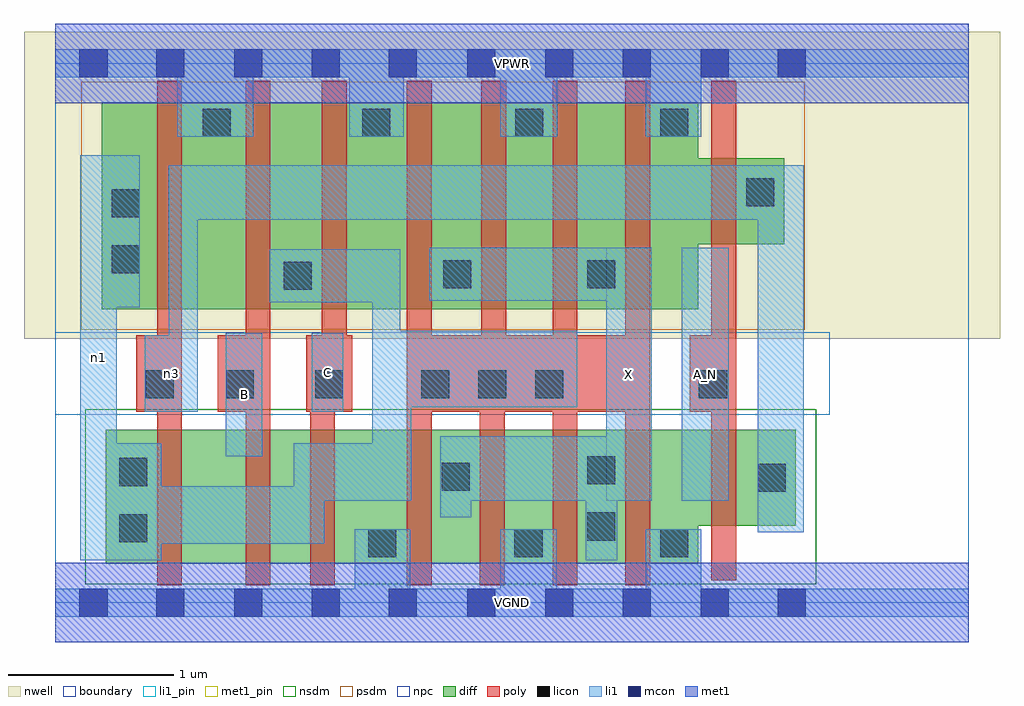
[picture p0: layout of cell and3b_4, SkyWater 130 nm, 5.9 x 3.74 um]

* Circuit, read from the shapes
.subckt and3b_4 A_N B C VGND VPWR X n1 n3
XM1 n2 n3 n1 VSUBS sky130_fd_pr__nfet_01v8 w=0.81 l=0.15
XM2 n4 B n2 VSUBS sky130_fd_pr__nfet_01v8 w=0.81 l=0.15
XM3 VGND C n4 VSUBS sky130_fd_pr__nfet_01v8 w=0.81 l=0.15
XM4 X n1 VGND VSUBS sky130_fd_pr__nfet_01v8 w=0.81 l=0.15 m=4
XM5 n3 A_N VGND VSUBS sky130_fd_pr__nfet_01v8 w=0.58 l=0.15
XM6 VPWR n3 n1 n5 sky130_fd_pr__pfet_01v8 w=1.25 l=0.15
XM7 n1 B VPWR n5 sky130_fd_pr__pfet_01v8 w=1.25 l=0.15
XM8 VPWR C n1 n5 sky130_fd_pr__pfet_01v8 w=1.25 l=0.15
XM9 X n1 VPWR n5 sky130_fd_pr__pfet_01v8 w=1.25 l=0.15 m=4
XM10 n3 A_N VPWR n5 sky130_fd_pr__pfet_01v8 w=0.52 l=0.15
.ends

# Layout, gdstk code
import gdstk
lib = gdstk.Library(unit=1e-6, precision=1e-09)
def R(c, l, rs):  # rectangles x0, y0, x1, y1
    for r in rs: c.add(gdstk.rectangle(r[:2], r[2:], *l))
def A(c, l, x, y, w, h, nx, ny, dx, dy):  # array of equal rectangles
    R(c, l, [(x+i*dx, y+j*dy, x+i*dx+w, y+j*dy+h) for i in range(nx) for j in range(ny)])
nwell = (64, 20)
diff = (65, 20)
poly = (66, 20)
licon = (66, 44)
li1_pin = (67, 16)
li1 = (67, 20)
mcon = (67, 44)
met1_pin = (68, 16)
met1 = (68, 20)
nsdm = (93, 44)
psdm = (94, 20)
npc = (95, 20)
boundary = (235, 4)

and3b_4 = lib.new_cell('and3b_4')
R(and3b_4, nwell, [(-0.19,1.595,5.71,3.45), (0,1.595,5.52,3.45)])
R(and3b_4, diff, [(0.305,0.235,3.885,1.045), (0.305,0.465,4.475,1.045), (0.28,1.775,3.885,3.025), (0.28,2.165,4.405,2.685)])
R(and3b_4, poly, [(0.615,0.105,0.765,3.155), (1.15,0.105,1.3,3.155), (1.54,0.105,1.69,1.615), (2.125,0.105,2.275,3.155), (2.565,0.105,2.715,1.615), (3.005,0.105,3.155,3.155), (3.445,0.105,3.595,3.155), (3.965,0.135,4.115,3.155), (0.49,1.155,0.765,1.615), (0.98,1.155,1.3,1.615), (1.515,1.155,1.795,1.615), (1.61,1.155,1.76,3.155), (2.125,1.155,3.595,1.615), (2.575,1.155,2.725,3.155), (3.835,1.155,4.115,1.615)])
A(and3b_4, licon, 2.21, 1.235, 0.17, 0.17, 3, 1, 0.345, 0)
R(and3b_4, licon, [(1.89,0.275,2.06,0.445), (2.775,0.275,2.945,0.445), (3.655,0.275,3.825,0.445), (0.385,0.365,0.555,0.535), (3.215,0.375,3.385,0.545), (4.245,0.67,4.415,0.84), (2.335,0.675,2.505,0.845), (0.385,0.705,0.555,0.875), (3.215,0.715,3.385,0.885), (0.545,1.235,0.715,1.405), (1.03,1.235,1.2,1.405), (1.57,1.235,1.74,1.405), (3.89,1.235,4.06,1.405), (1.38,1.89,1.55,2.06), (2.345,1.9,2.515,2.07), (3.215,1.9,3.385,2.07), (0.34,1.99,0.51,2.16), (0.34,2.33,0.51,2.5), (4.175,2.395,4.345,2.565), (0.89,2.815,1.06,2.985), (1.855,2.815,2.025,2.985), (2.78,2.815,2.95,2.985), (3.655,2.815,3.825,2.985)])
R(and3b_4, li1_pin, [(3.33,0.615,3.605,2.145), (3.785,0.615,4.07,2.145), (1.03,0.885,1.25,1.63), (1.55,1.155,1.74,1.63)])
R(and3b_4, li1, [(0,-0.085,5.52,0.085), (1.81,-0.085,2.145,0.445), (2.69,-0.085,3.03,0.445), (3.57,-0.085,3.905,0.445), (0.15,0.255,0.37,2.705), (0.15,0.255,0.64,0.965), (3.205,0.255,3.395,1.005), (0.15,0.355,1.625,0.705), (1.44,0.355,1.625,0.965), (4.245,0.425,4.525,2.645), (2.325,0.515,2.515,1.005), (1.44,0.615,2.15,0.965), (1.915,0.615,2.085,2.135), (1.915,0.615,2.15,1.645), (2.325,0.615,3.605,1.005), (3.33,0.615,3.605,2.145), (3.785,0.615,4.07,2.145), (1.03,0.885,1.25,1.63), (0.54,1.155,0.86,1.615), (0.685,1.155,0.86,2.645), (1.55,1.155,1.74,1.63), (1.915,1.18,3.155,1.645), (0.15,1.785,0.51,2.705), (1.295,1.815,2.085,2.135), (2.26,1.825,3.605,2.145), (0.685,2.315,4.525,2.645), (0.735,2.815,1.195,3.345), (1.775,2.815,2.105,3.345), (2.69,2.815,3.035,3.345), (3.57,2.815,3.905,3.345), (0,3.175,5.52,3.345)])
A(and3b_4, mcon, 0.61, -0.085, 0.17, 0.17, 3, 2, 0.47, 3.26)
A(and3b_4, mcon, 2.49, -0.085, 0.17, 0.17, 4, 2, 0.47, 3.26)
R(and3b_4, mcon, [(0.145,-0.085,0.315,0.085), (2.015,-0.085,2.185,0.085), (4.365,-0.085,4.535,0.085), (0.145,3.175,0.315,3.345), (2.015,3.175,2.185,3.345), (4.365,3.175,4.535,3.345)])
R(and3b_4, met1_pin, [(0,-0.24,5.52,0.24), (0,3.02,5.52,3.5)])
R(and3b_4, met1, [(0,-0.24,5.52,0.24), (0,3.02,5.52,3.5)])
R(and3b_4, nsdm, [(0.18,0.11,4.6,1.17)])
R(and3b_4, psdm, [(0.155,1.65,4.53,3.15)])
R(and3b_4, npc, [(0,1.135,4.68,1.635)])
R(and3b_4, boundary, [(0,0,5.52,3.26)])
and3b_4.add(gdstk.Label('A_N', (3.927,1.38), layer=67, texttype=5))
and3b_4.add(gdstk.Label('B', (1.14,1.257), layer=67, texttype=5))
and3b_4.add(gdstk.Label('C', (1.645,1.392), layer=67, texttype=5))
and3b_4.add(gdstk.Label('X', (3.467,1.38), layer=67, texttype=5))
and3b_4.add(gdstk.Label('n3', (0.7,1.385), layer=67, texttype=5))
and3b_4.add(gdstk.Label('n1', (0.26,1.48), layer=67, texttype=5))
and3b_4.add(gdstk.Label('VPWR', (2.76,3.26), layer=68, texttype=5))
and3b_4.add(gdstk.Label('VGND', (2.76,0), layer=68, texttype=5))
and3b_4.add(gdstk.Label('A_N', (3.927,1.38), layer=67, texttype=16))
and3b_4.add(gdstk.Label('B', (1.14,1.257), layer=67, texttype=16))
and3b_4.add(gdstk.Label('C', (1.645,1.392), layer=67, texttype=16))
and3b_4.add(gdstk.Label('X', (3.467,1.38), layer=67, texttype=16))
and3b_4.add(gdstk.Label('VPWR', (2.76,3.26), layer=68, texttype=16))
and3b_4.add(gdstk.Label('VGND', (2.76,0), layer=68, texttype=16))

lib.write_gds('and3b_4.gds')
